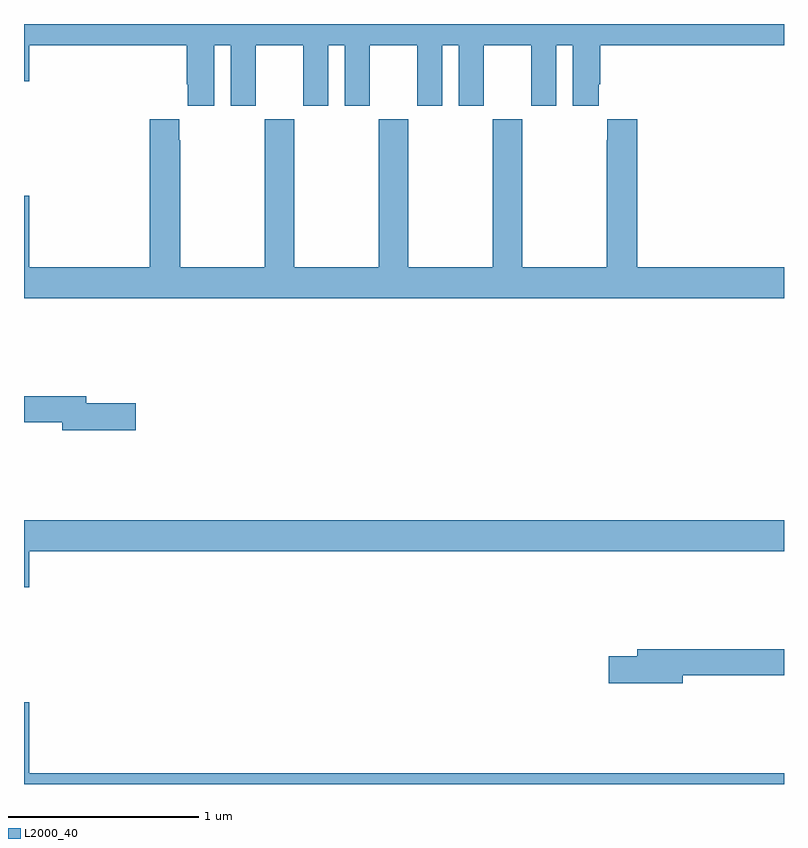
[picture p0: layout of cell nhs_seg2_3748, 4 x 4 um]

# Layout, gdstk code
import gdstk
lib = gdstk.Library(unit=1e-6, precision=1e-09)
def P(c, l, *ps):  # polygons
    for p in ps: c.add(gdstk.Polygon(p, *l))
L2000_40 = (2000, 40)

nhs_seg2_3748 = lib.new_cell('nhs_seg2_3748')
P(nhs_seg2_3748, L2000_40, [(309,595.5),(309.028,595.5),(309.028,595.688),(309.857,595.688),(309.857,595.483),(309.863,595.483),(309.863,595.371),(310,595.371),(310,595.688),(310.088,595.688),(310.088,595.371),(310.219,595.371),(310.219,595.688),(310.469,595.688),(310.469,595.371),(310.6,595.371),(310.6,595.688),(310.688,595.688),(310.688,595.371),(310.819,595.371),(310.819,595.688),(311.069,595.688),(311.069,595.371),(311.2,595.371),(311.2,595.688),(311.288,595.688),(311.288,595.371),(311.419,595.371),(311.419,595.688),(311.669,595.688),(311.669,595.371),(311.8,595.371),(311.8,595.688),(311.888,595.688),(311.888,595.371),(312.025,595.371),(312.025,595.483),(312.032,595.483),(312.032,595.688),(313,595.688),(313,595.8),(309,595.8)],
  [(309.817,595.187),(309.817,595.3),(309.662,595.3),(309.662,594.52),(309.028,594.52),(309.028,594.895),(309,594.895),(309,594.356),(313,594.356),(313,594.52),(312.227,594.52),(312.227,595.3),(312.071,595.3),(312.071,595.187),(312.067,595.187),(312.067,594.52),(311.622,594.52),(311.622,595.3),(311.467,595.3),(311.467,594.52),(311.022,594.52),(311.022,595.3),(310.867,595.3),(310.867,594.52),(310.422,594.52),(310.422,595.3),(310.267,595.3),(310.267,594.52),(309.822,594.52),(309.822,595.187)],
  [(309.589,593.804),(309.328,593.804),(309.328,593.84),(309,593.84),(309,593.704),(309.2,593.704),(309.2,593.662),(309.589,593.662)],
  [(309.028,593.024),(313,593.024),(313,593.188),(309,593.188),(309,592.836),(309.028,592.836)],
  [(312.466,592.372),(313,592.372),(313,592.508),(312.227,592.508),(312.227,592.472),(312.078,592.472),(312.078,592.33),(312.466,592.33)],
  [(309.028,592.231),(309,592.231),(309,591.8),(313,591.8),(313,591.856),(309.028,591.856)])

lib.write_gds('nhs_seg2_3748.gds')
